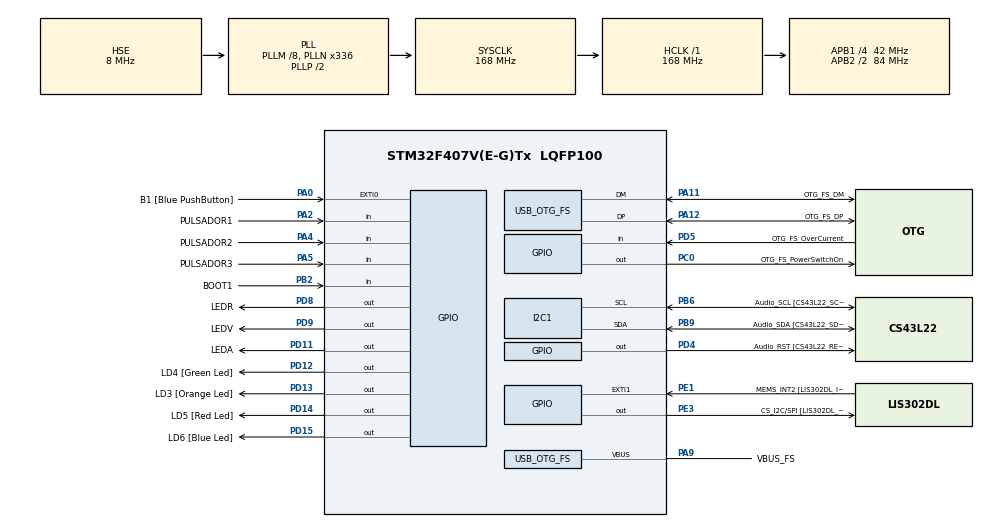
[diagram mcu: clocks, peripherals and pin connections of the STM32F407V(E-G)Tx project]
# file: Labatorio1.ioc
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Mcu.Family=STM32F4
Mcu.Name=STM32F407V(E-G)Tx
Mcu.Package=LQFP100
NVIC.OTG_FS_IRQn=true\:0\:0\:false\:false\:true\:true\:true\:true
NVIC.PriorityGroup=NVIC_PRIORITYGROUP_0
PA0-WKUP.GPIO_Label=B1 [Blue PushButton]
PA0-WKUP.GPIO_ModeDefaultEXTI=GPIO_MODE_EVT_RISING
PA0-WKUP.GPIO_PuPd=GPIO_NOPULL
PA0-WKUP.Signal=GPXTI0
PA10.GPIO_Label=OTG_FS_ID
PA10.GPIO_Mode=GPIO_MODE_AF_PP
PA10.GPIO_PuPd=GPIO_NOPULL
PA10.GPIO_Speed=GPIO_SPEED_FREQ_LOW
PA10.Signal=USB_OTG_FS_ID
PA11.GPIO_Label=OTG_FS_DM
PA11.GPIO_Mode=GPIO_MODE_AF_PP
PA11.GPIO_PuPd=GPIO_NOPULL
PA11.GPIO_Speed=GPIO_SPEED_FREQ_LOW
PA11.Mode=Host_Only
PA11.Signal=USB_OTG_FS_DM
PA12.GPIO_Label=OTG_FS_DP
PA12.GPIO_Mode=GPIO_MODE_AF_PP
PA12.GPIO_PuPd=GPIO_NOPULL
PA12.GPIO_Speed=GPIO_SPEED_FREQ_LOW
PA12.Mode=Host_Only
PA12.Signal=USB_OTG_FS_DP
PA13.GPIO_Label=SWDIO
PA13.Mode=Serial_Wire
PA13.Signal=SYS_JTMS-SWDIO
PA14.GPIO_Label=SWCLK
PA14.Mode=Serial_Wire
PA14.Signal=SYS_JTCK-SWCLK
PA2.GPIO_Label=PULSADOR1
PA2.Signal=GPIO_Input
PA4.GPIO_Label=PULSADOR2
PA4.Signal=GPIO_Input
PA5.GPIO_Label=PULSADOR3
PA5.Signal=GPIO_Input
PA6.GPIO_Label=SPI1_MISO [LIS302DL_SDO]
PA6.GPIO_Mode=GPIO_MODE_AF_PP
PA6.GPIO_PuPd=GPIO_NOPULL
PA6.GPIO_Speed=GPIO_SPEED_FREQ_LOW
PA6.Signal=SPI1_MISO
PA7.GPIO_Label=SPI1_MOSI [LIS302DL_SDA/SDI/SDO]
PA7.GPIO_Mode=GPIO_MODE_AF_PP
PA7.GPIO_PuPd=GPIO_NOPULL
PA7.GPIO_Speed=GPIO_SPEED_FREQ_LOW
PA7.Signal=SPI1_MOSI
PA9.GPIO_Label=VBUS_FS
PA9.GPIO_Mode=GPIO_MODE_INPUT
PA9.GPIO_PuPd=GPIO_NOPULL
PA9.Mode=Activate_VBUS
PA9.Signal=USB_OTG_FS_VBUS
PB10.GPIO_Label=CLK_IN [MP45DT02_CLK]
PB10.GPIO_Mode=GPIO_MODE_AF_PP
PB10.GPIO_PuPd=GPIO_NOPULL
PB10.GPIO_Speed=GPIO_SPEED_FREQ_LOW
PB10.Signal=I2S2_CK
PB2.GPIO_Label=BOOT1
PB2.GPIO_Mode=GPIO_MODE_INPUT
PB2.GPIO_PuPd=GPIO_NOPULL
PB2.Signal=GPIO_Input
PB3.GPIO_Label=SWO
PB3.Signal=SYS_JTDO-SWO
PB6.GPIO_Label=Audio_SCL [CS43L22_SCL]
PB6.GPIO_Mode=GPIO_MODE_AF_OD
PB6.GPIO_Pu=GPIO_PULLUP
PB6.GPIO_PuPd=GPIO_NOPULL
PB6.GPIO_Speed=GPIO_SPEED_FREQ_LOW
PB6.Mode=I2C
PB6.Signal=I2C1_SCL
PB9.GPIO_Label=Audio_SDA [CS43L22_SDA]
PB9.GPIO_Mode=GPIO_MODE_AF_OD
PB9.GPIO_Pu=GPIO_PULLUP
PB9.GPIO_PuPd=GPIO_NOPULL
PB9.GPIO_Speed=GPIO_SPEED_FREQ_LOW
PB9.Mode=I2C
PB9.Signal=I2C1_SDA
PC0.GPIO_Label=OTG_FS_PowerSwitchOn
PC0.GPIO_PuPd=GPIO_NOPULL
PC0.GPIO_Speed=GPIO_SPEED_FREQ_LOW
PC0.PinState=GPIO_PIN_SET
PC0.Signal=GPIO_Output
PC10.GPIO_Label=I2S3_SCK [CS43L22_SCLK]
PC10.GPIO_Mode=GPIO_MODE_AF_PP
PC10.GPIO_PuPd=GPIO_NOPULL
PC10.GPIO_Speed=GPIO_SPEED_FREQ_LOW
PC10.Signal=I2S3_CK
PC12.GPIO_Label=I2S3_SD [CS43L22_SDIN]
PC12.GPIO_Mode=GPIO_MODE_AF_PP
PC12.GPIO_PuPd=GPIO_NOPULL
PC12.GPIO_Speed=GPIO_SPEED_FREQ_LOW
PC12.Signal=I2S3_SD
PC14-OSC32_IN.GPIO_Label=PC14-OSC32_IN
PC14-OSC32_IN.Mode=LSE-External-Oscillator
PC14-OSC32_IN.Signal=RCC_OSC32_IN
PC15-OSC32_OUT.GPIO_Label=PC15-OSC32_OUT
PC15-OSC32_OUT.Mode=LSE-External-Oscillator
PC15-OSC32_OUT.Signal=RCC_OSC32_OUT
PC3.GPIO_Label=PDM_OUT [MP45DT02_DOUT]
PC3.GPIO_Mode=GPIO_MODE_AF_PP
PC3.GPIO_PuPd=GPIO_NOPULL
PC3.GPIO_Speed=GPIO_SPEED_FREQ_LOW
PC3.Signal=I2S2_SD
PC7.GPIO_Label=I2S3_MCK [CS43L22_MCLK]
PC7.GPIO_Mode=GPIO_MODE_AF_PP
PC7.GPIO_PuPd=GPIO_NOPULL
PC7.GPIO_Speed=GPIO_SPEED_FREQ_LOW
PC7.Signal=I2S3_MCK
PD11.GPIO_Label=LEDA
PD11.Signal=GPIO_Output
PD12.GPIO_Label=LD4 [Green Led]
PD12.GPIO_PuPd=GPIO_NOPULL
PD12.GPIO_Speed=GPIO_SPEED_FREQ_LOW
PD12.Signal=GPIO_Output
PD13.GPIO_Label=LD3 [Orange Led]
PD13.GPIO_PuPd=GPIO_NOPULL
PD13.GPIO_Speed=GPIO_SPEED_FREQ_LOW
PD13.Signal=GPIO_Output
PD14.GPIO_Label=LD5 [Red Led]
PD14.GPIO_PuPd=GPIO_NOPULL
PD14.GPIO_Speed=GPIO_SPEED_FREQ_LOW
PD14.Signal=GPIO_Output
PD15.GPIO_Label=LD6 [Blue Led]
PD15.GPIO_PuPd=GPIO_NOPULL
PD15.GPIO_Speed=GPIO_SPEED_FREQ_LOW
PD15.Signal=GPIO_Output
PD4.GPIO_Label=Audio_RST [CS43L22_RESET]
PD4.GPIO_PuPd=GPIO_NOPULL
PD4.GPIO_Speed=GPIO_SPEED_FREQ_LOW
PD4.Signal=GPIO_Output
PD5.GPIO_Label=OTG_FS_OverCurrent
PD5.GPIO_Mode=GPIO_MODE_INPUT
PD5.GPIO_PuPd=GPIO_NOPULL
PD5.Signal=GPIO_Input
PD8.GPIO_Label=LEDR
PD8.Signal=GPIO_Output
PD9.GPIO_Label=LEDV
PD9.Signal=GPIO_Output
PE1.GPIO_Label=MEMS_INT2 [LIS302DL_INT2]
PE1.GPIO_ModeDefaultEXTI=GPIO_MODE_EVT_RISING
PE1.GPIO_PuPd=GPIO_NOPULL
PE1.Signal=GPXTI1
PE3.GPIO_Label=CS_I2C/SPI [LIS302DL_CS_I2C/SPI]
PE3.GPIO_PuPd=GPIO_NOPULL
PE3.GPIO_Speed=GPIO_SPEED_FREQ_LOW
PE3.Signal=GPIO_Output
PH0-OSC_IN.GPIO_Label=PH0-OSC_IN
PH0-OSC_IN.Mode=HSE-External-Oscillator
PH0-OSC_IN.Signal=RCC_OSC_IN
PH1-OSC_OUT.GPIO_Label=PH1-OSC_OUT
PH1-OSC_OUT.Mode=HSE-External-Oscillator
PH1-OSC_OUT.Signal=RCC_OSC_OUT
ProjectManager.HeapSize=0x200
ProjectManager.StackSize=0x400
ProjectManager.TargetToolchain=STM32CubeIDE
RCC.48MHZClocksFreq_Value=48000000
RCC.AHBFreq_Value=168000000
RCC.APB1CLKDivider=RCC_HCLK_DIV4
RCC.APB1Freq_Value=42000000
RCC.APB1TimFreq_Value=84000000
RCC.APB2CLKDivider=RCC_HCLK_DIV2
RCC.APB2Freq_Value=84000000
RCC.APB2TimFreq_Value=168000000
RCC.CortexFreq_Value=168000000
RCC.HCLKFreq_Value=168000000
RCC.HSE_VALUE=8000000
RCC.HSI_VALUE=16000000
RCC.PLLM=8
RCC.PLLN=336
RCC.PLLQ=7
RCC.SYSCLKFreq_VALUE=168000000
RCC.SYSCLKSource=RCC_SYSCLKSOURCE_PLLCLK
RCC.VCOOutputFreq_Value=336000000
USB_HOST.BSP.number=1
USB_HOST.USBH_HandleTypeDef-CDC_FS=hUsbHostFS
USB_HOST.VirtualModeFS=Cdc
USB_HOST0.BSP.STBoard=false
USB_HOST0.BSP.api=Unknown
USB_HOST0.BSP.instance=PC0
USB_HOST0.BSP.ip=GPIO
USB_HOST0.BSP.mode=Output
USB_HOST0.BSP.name=Drive_VBUS_FS
USB_HOST0.BSP.solution=PC0
USB_OTG_FS.VirtualMode=Host_Only
USB_OTG_FS.phy_itface=HCD_PHY_EMBEDDED
VP_USB_HOST_VS_USB_HOST_CDC_FS.Mode=CDC_FS
board=STM32F407G-DISC1

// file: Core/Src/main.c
/* USER CODE BEGIN Header */
/**
 ******************************************************************************
 * @file           : main.c
 * @brief          : Main program body
 ******************************************************************************
 * @attention
 *
 * Copyright (c) 2026 STMicroelectronics.
 * All rights reserved.
 *
 * This software is licensed under terms that can be found in the LICENSE file
 * in the root directory of this software component.
 * If no LICENSE file comes with this software, it is provided AS-IS.
 *
 ******************************************************************************
 */
/* USER CODE END Header */
#include "main.h"
#include "usb_host.h"

/* USER CODE BEGIN Includes */
#include <stdbool.h>
/* USER CODE END Includes */

/* USER CODE BEGIN PD */
#define T_REBOTE_MS 50U
/* USER CODE END PD */

I2C_HandleTypeDef hi2c1;

void SystemClock_Config(void);
static void MX_GPIO_Init(void);
static void MX_I2C1_Init(void);
void MX_USB_HOST_Process(void);

/* USER CODE BEGIN PFP */
bool HayNuevaPulsacion(GPIO_TypeDef* PULSADOR,uint16_t PIN, GPIO_PinState* estado_valido);
/* USER CODE END PFP */

int main(void)
{

  /* USER CODE BEGIN 1 */
	GPIO_PinState estado_valido1 = GPIO_PIN_SET;
	GPIO_PinState estado_valido2 = GPIO_PIN_SET;
	GPIO_PinState estado_valido3 = GPIO_PIN_SET;
  /* USER CODE END 1 */

  /* MCU Configuration--------------------------------------------------------*/

  /* Reset of all peripherals, Initializes the Flash interface and the Systick. */
  HAL_Init();

  /* Configure the system clock */
  SystemClock_Config();

  /* Initialize all configured peripherals */
  MX_GPIO_Init();
  MX_I2C1_Init();
  MX_USB_HOST_Init();

  /* Infinite loop */
	while (1)
	{
    MX_USB_HOST_Process();

    /* USER CODE BEGIN 3 */

		if(HayNuevaPulsacion(PULSADOR1_GPIO_Port, PULSADOR1_Pin, &estado_valido1))
		{
			HAL_GPIO_TogglePin(LEDR_GPIO_Port, LEDR_Pin);
		}
		if(HayNuevaPulsacion(PULSADOR2_GPIO_Port, PULSADOR2_Pin, &estado_valido2))
		{
			HAL_GPIO_TogglePin(LEDA_GPIO_Port, LEDA_Pin);
		}
		if(HayNuevaPulsacion(PULSADOR3_GPIO_Port, PULSADOR3_Pin, &estado_valido3))
		{
			HAL_GPIO_TogglePin(LEDV_GPIO_Port, LEDV_Pin);
		}
	}
  /* USER CODE END 3 */
}

void SystemClock_Config(void)
{
  RCC_OscInitTypeDef RCC_OscInitStruct = {0};
  RCC_ClkInitTypeDef RCC_ClkInitStruct = {0};

  /** Configure the main internal regulator output voltage
  */
  __HAL_RCC_PWR_CLK_ENABLE();
  __HAL_PWR_VOLTAGESCALING_CONFIG(PWR_REGULATOR_VOLTAGE_SCALE1);

  /** Initializes the RCC Oscillators according to the specified parameters
  * in the RCC_OscInitTypeDef structure.
  */
  RCC_OscInitStruct.OscillatorType = RCC_OSCILLATORTYPE_HSE;
  RCC_OscInitStruct.HSEState = RCC_HSE_ON;
  RCC_OscInitStruct.PLL.PLLState = RCC_PLL_ON;
  RCC_OscInitStruct.PLL.PLLSource = RCC_PLLSOURCE_HSE;
  RCC_OscInitStruct.PLL.PLLM = 8;
  RCC_OscInitStruct.PLL.PLLN = 336;
  RCC_OscInitStruct.PLL.PLLP = RCC_PLLP_DIV2;
  RCC_OscInitStruct.PLL.PLLQ = 7;
  if (HAL_RCC_OscConfig(&RCC_OscInitStruct) != HAL_OK)
  {
    Error_Handler();
  }

  /** Initializes the CPU, AHB and APB buses clocks
  */
  RCC_ClkInitStruct.ClockType = RCC_CLOCKTYPE_HCLK|RCC_CLOCKTYPE_SYSCLK
                              |RCC_CLOCKTYPE_PCLK1|RCC_CLOCKTYPE_PCLK2;
  RCC_ClkInitStruct.SYSCLKSource = RCC_SYSCLKSOURCE_PLLCLK;
  RCC_ClkInitStruct.AHBCLKDivider = RCC_SYSCLK_DIV1;
  RCC_ClkInitStruct.APB1CLKDivider = RCC_HCLK_DIV4;
  RCC_ClkInitStruct.APB2CLKDivider = RCC_HCLK_DIV2;

  if (HAL_RCC_ClockConfig(&RCC_ClkInitStruct, FLASH_LATENCY_5) != HAL_OK)
  {
    Error_Handler();
  }
}

static void MX_I2C1_Init(void)
{

  hi2c1.Instance = I2C1;
  hi2c1.Init.ClockSpeed = 100000;
  hi2c1.Init.DutyCycle = I2C_DUTYCYCLE_2;
  hi2c1.Init.OwnAddress1 = 0;
  hi2c1.Init.AddressingMode = I2C_ADDRESSINGMODE_7BIT;
  hi2c1.Init.DualAddressMode = I2C_DUALADDRESS_DISABLE;
  hi2c1.Init.OwnAddress2 = 0;
  hi2c1.Init.GeneralCallMode = I2C_GENERALCALL_DISABLE;
  hi2c1.Init.NoStretchMode = I2C_NOSTRETCH_DISABLE;
  if (HAL_I2C_Init(&hi2c1) != HAL_OK)
  {
    Error_Handler();
  }

}

static void MX_GPIO_Init(void)
{
  GPIO_InitTypeDef GPIO_InitStruct = {0};

  /* GPIO Ports Clock Enable */
  __HAL_RCC_GPIOE_CLK_ENABLE();
  __HAL_RCC_GPIOC_CLK_ENABLE();
  __HAL_RCC_GPIOH_CLK_ENABLE();
  __HAL_RCC_GPIOA_CLK_ENABLE();
  __HAL_RCC_GPIOB_CLK_ENABLE();
  __HAL_RCC_GPIOD_CLK_ENABLE();

  /*Configure GPIO pin Output Level */
  HAL_GPIO_WritePin(CS_I2C_SPI_GPIO_Port, CS_I2C_SPI_Pin, GPIO_PIN_RESET);

  /*Configure GPIO pin Output Level */
  HAL_GPIO_WritePin(OTG_FS_PowerSwitchOn_GPIO_Port, OTG_FS_PowerSwitchOn_Pin, GPIO_PIN_SET);

  /*Configure GPIO pin Output Level */
  HAL_GPIO_WritePin(GPIOD, LEDR_Pin|LEDV_Pin|LEDA_Pin|LD4_Pin
                          |LD3_Pin|LD5_Pin|LD6_Pin|Audio_RST_Pin, GPIO_PIN_RESET);

  /*Configure GPIO pin : CS_I2C_SPI_Pin */
  GPIO_InitStruct.Pin = CS_I2C_SPI_Pin;
  GPIO_InitStruct.Mode = GPIO_MODE_OUTPUT_PP;
  GPIO_InitStruct.Pull = GPIO_NOPULL;
  GPIO_InitStruct.Speed = GPIO_SPEED_FREQ_LOW;
  HAL_GPIO_Init(CS_I2C_SPI_GPIO_Port, &GPIO_InitStruct);

  /*Configure GPIO pin : OTG_FS_PowerSwitchOn_Pin */
  GPIO_InitStruct.Pin = OTG_FS_PowerSwitchOn_Pin;
  GPIO_InitStruct.Mode = GPIO_MODE_OUTPUT_PP;
  GPIO_InitStruct.Pull = GPIO_NOPULL;
  GPIO_InitStruct.Speed = GPIO_SPEED_FREQ_LOW;
  HAL_GPIO_Init(OTG_FS_PowerSwitchOn_GPIO_Port, &GPIO_InitStruct);

  /*Configure GPIO pin : PDM_OUT_Pin */
  GPIO_InitStruct.Pin = PDM_OUT_Pin;
  GPIO_InitStruct.Mode = GPIO_MODE_AF_PP;
  GPIO_InitStruct.Pull = GPIO_NOPULL;
  GPIO_InitStruct.Speed = GPIO_SPEED_FREQ_LOW;
  GPIO_InitStruct.Alternate = GPIO_AF5_SPI2;
  HAL_GPIO_Init(PDM_OUT_GPIO_Port, &GPIO_InitStruct);

  /*Configure GPIO pin : B1_Pin */
  GPIO_InitStruct.Pin = B1_Pin;
  GPIO_InitStruct.Mode = GPIO_MODE_EVT_RISING;
  GPIO_InitStruct.Pull = GPIO_NOPULL;
  HAL_GPIO_Init(B1_GPIO_Port, &GPIO_InitStruct);

  /*Configure GPIO pins : PULSADOR1_Pin PULSADOR2_Pin PULSADOR3_Pin */
  GPIO_InitStruct.Pin = PULSADOR1_Pin|PULSADOR2_Pin|PULSADOR3_Pin;
  GPIO_InitStruct.Mode = GPIO_MODE_INPUT;
  GPIO_InitStruct.Pull = GPIO_NOPULL;
  HAL_GPIO_Init(GPIOA, &GPIO_InitStruct);

  /*Configure GPIO pins : SPI1_MISO_Pin SPI1_MOSI_Pin */
  GPIO_InitStruct.Pin = SPI1_MISO_Pin|SPI1_MOSI_Pin;
  GPIO_InitStruct.Mode = GPIO_MODE_AF_PP;
  GPIO_InitStruct.Pull = GPIO_NOPULL;
  GPIO_InitStruct.Speed = GPIO_SPEED_FREQ_LOW;
  GPIO_InitStruct.Alternate = GPIO_AF5_SPI1;
  HAL_GPIO_Init(GPIOA, &GPIO_InitStruct);

  /*Configure GPIO pin : BOOT1_Pin */
  GPIO_InitStruct.Pin = BOOT1_Pin;
  GPIO_InitStruct.Mode = GPIO_MODE_INPUT;
  GPIO_InitStruct.Pull = GPIO_NOPULL;
  HAL_GPIO_Init(BOOT1_GPIO_Port, &GPIO_InitStruct);

  /*Configure GPIO pin : CLK_IN_Pin */
  GPIO_InitStruct.Pin = CLK_IN_Pin;
  GPIO_InitStruct.Mode = GPIO_MODE_AF_PP;
  GPIO_InitStruct.Pull = GPIO_NOPULL;
  GPIO_InitStruct.Speed = GPIO_SPEED_FREQ_LOW;
  GPIO_InitStruct.Alternate = GPIO_AF5_SPI2;
  HAL_GPIO_Init(CLK_IN_GPIO_Port, &GPIO_InitStruct);

  /*Configure GPIO pins : LEDR_Pin LEDV_Pin LEDA_Pin LD4_Pin
                           LD3_Pin LD5_Pin LD6_Pin Audio_RST_Pin */
  GPIO_InitStruct.Pin = LEDR_Pin|LEDV_Pin|LEDA_Pin|LD4_Pin
                          |LD3_Pin|LD5_Pin|LD6_Pin|Audio_RST_Pin;
  GPIO_InitStruct.Mode = GPIO_MODE_OUTPUT_PP;
  GPIO_InitStruct.Pull = GPIO_NOPULL;
  GPIO_InitStruct.Speed = GPIO_SPEED_FREQ_LOW;
  HAL_GPIO_Init(GPIOD, &GPIO_InitStruct);

  /*Configure GPIO pins : I2S3_MCK_Pin I2S3_SCK_Pin I2S3_SD_Pin */
  GPIO_InitStruct.Pin = I2S3_MCK_Pin|I2S3_SCK_Pin|I2S3_SD_Pin;
  GPIO_InitStruct.Mode = GPIO_MODE_AF_PP;
  GPIO_InitStruct.Pull = GPIO_NOPULL;
  GPIO_InitStruct.Speed = GPIO_SPEED_FREQ_LOW;
  GPIO_InitStruct.Alternate = GPIO_AF6_SPI3;
  HAL_GPIO_Init(GPIOC, &GPIO_InitStruct);

  /*Configure GPIO pin : OTG_FS_OverCurrent_Pin */
  GPIO_InitStruct.Pin = OTG_FS_OverCurrent_Pin;
  GPIO_InitStruct.Mode = GPIO_MODE_INPUT;
  GPIO_InitStruct.Pull = GPIO_NOPULL;
  HAL_GPIO_Init(OTG_FS_OverCurrent_GPIO_Port, &GPIO_InitStruct);

  /*Configure GPIO pin : MEMS_INT2_Pin */
  GPIO_InitStruct.Pin = MEMS_INT2_Pin;
  GPIO_InitStruct.Mode = GPIO_MODE_EVT_RISING;
  GPIO_InitStruct.Pull = GPIO_NOPULL;
  HAL_GPIO_Init(MEMS_INT2_GPIO_Port, &GPIO_InitStruct);

}

/* USER CODE BEGIN 4 */
bool HayNuevaPulsacion(GPIO_TypeDef* PULSADOR,uint16_t PIN, GPIO_PinState* estado_valido)
{
	GPIO_PinState lectura1;
	GPIO_PinState lectura2;
	bool nueva_pulsacion = false;
	lectura1 = HAL_GPIO_ReadPin(PULSADOR, PIN);
	if(lectura1 != (*estado_valido))
	{
		HAL_Delay(T_REBOTE_MS);
		lectura2 = HAL_GPIO_ReadPin(PULSADOR, PIN);
		if(lectura2 == lectura1)
		{
			GPIO_PinState estado_anterior = *estado_valido;
			*estado_valido = lectura2;
			if((estado_anterior == GPIO_PIN_SET) && (*estado_valido == GPIO_PIN_RESET))
			{
				nueva_pulsacion = true;
			}
		}
	}
	return nueva_pulsacion;
}
/* USER CODE END 4 */

void Error_Handler(void)
{
	__disable_irq();
	while (1)
	{
	}
}
